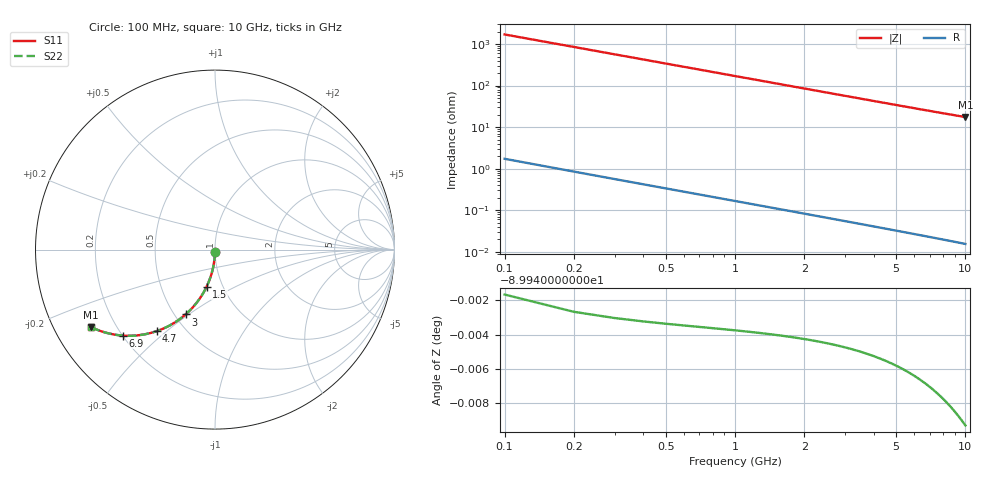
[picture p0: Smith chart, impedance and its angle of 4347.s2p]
# Hz S RI R 50.00
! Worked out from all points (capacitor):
!   100 points, 100 MHz to 10 GHz, reference 50 ohm
!   read as one part in shunt: C = 938 fF near 100 MHz
!   lowest |Z| = 17.4 ohm at 10 GHz (marker M1)
!   S11 on the Smith chart (normalised r, x): 100 MHz: 1.00, -0.03; 1.5 GHz: 0.84, -0.36; 3 GHz: 0.57, -0.49; 4.7 GHz: 0.35, -0.46; 6.9 GHz: 0.20, -0.38; 10 GHz: 0.11, -0.28
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1e8  -0.000169 -0.0144  0.9997 -0.015  0.9997 -0.015  -0.000169 -0.0144
2e8  -0.000833 -0.0289  0.999 -0.03  0.999 -0.03  -0.000833 -0.0289
3e8  -0.00193 -0.0432  0.9979 -0.045  0.9979 -0.045  -0.00193 -0.0432
4e8  -0.00345 -0.0576  0.9964 -0.0599  0.9964 -0.0599  -0.00345 -0.0576
5e8  -0.0054 -0.0718  0.9945 -0.0747  0.9945 -0.0747  -0.0054 -0.0718
6e8  -0.00777 -0.086  0.9921 -0.0894  0.9921 -0.0894  -0.00777 -0.086
7e8  -0.0106 -0.1  0.9893 -0.104  0.9893 -0.104  -0.0106 -0.1
9e8  -0.0173 -0.1277  0.9825 -0.1329  0.9825 -0.1329  -0.0173 -0.1277
1.2e9  -0.0304 -0.168  0.9694 -0.1749  0.9694 -0.1749  -0.0304 -0.168
1.5e9  -0.0467 -0.2064  0.9531 -0.215  0.9531 -0.215  -0.0467 -0.2064
1.8e9  -0.0659 -0.2426  0.9339 -0.253  0.9339 -0.253  -0.0659 -0.2426
2.4e9  -0.1115 -0.3075  0.8882 -0.3213  0.8882 -0.3213  -0.1115 -0.3075
3e9  -0.1641 -0.3613  0.8356 -0.3786  0.8356 -0.3786  -0.1641 -0.3613
3.4e9  -0.2015 -0.3909  0.7982 -0.4105  0.7982 -0.4105  -0.2015 -0.3909
4e9  -0.259 -0.4261  0.7405 -0.4493  0.7405 -0.4493  -0.259 -0.4261
4.7e9  -0.3259 -0.4546  0.6736 -0.482  0.6736 -0.482  -0.3259 -0.4546
5.1e9  -0.363 -0.4656  0.6364 -0.4953  0.6364 -0.4953  -0.363 -0.4656
5.9e9  -0.4333 -0.4778  0.566 -0.5123  0.566 -0.5123  -0.4333 -0.4778
6.7e9  -0.4971 -0.4798  0.502 -0.5191  0.502 -0.5191  -0.4971 -0.4798
6.9e9  -0.512 -0.4791  0.487 -0.5196  0.487 -0.5196  -0.512 -0.4791
8.4e9  -0.61 -0.4622  0.3886 -0.512  0.3886 -0.512  -0.61 -0.4622
1e10  -0.6906 -0.4315  0.3075 -0.4912  0.3075 -0.4912  -0.6906 -0.4315
